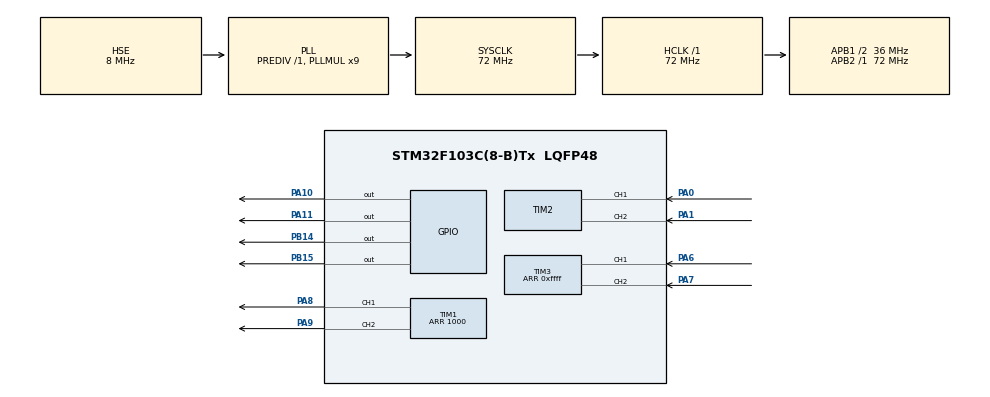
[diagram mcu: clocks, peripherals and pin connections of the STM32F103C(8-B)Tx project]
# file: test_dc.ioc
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Mcu.Family=STM32F1
Mcu.Name=STM32F103C(8-B)Tx
Mcu.Package=LQFP48
NVIC.PriorityGroup=NVIC_PRIORITYGROUP_4
NVIC.TIM2_IRQn=true\:0\:0\:false\:false\:true\:true\:true\:true
NVIC.TIM3_IRQn=true\:0\:0\:false\:false\:true\:true\:true\:true
PA0-WKUP.Signal=S_TIM2_CH1_ETR
PA1.Signal=S_TIM2_CH2
PA10.Signal=GPIO_Output
PA11.Signal=GPIO_Output
PA13.Mode=Serial_Wire
PA13.Signal=SYS_JTMS-SWDIO
PA14.Mode=Serial_Wire
PA14.Signal=SYS_JTCK-SWCLK
PA6.Signal=S_TIM3_CH1
PA7.Signal=S_TIM3_CH2
PA8.Signal=S_TIM1_CH1
PA9.Signal=S_TIM1_CH2
PB14.Signal=GPIO_Output
PB15.Signal=GPIO_Output
PD0-OSC_IN.Mode=HSE-External-Oscillator
PD0-OSC_IN.Signal=RCC_OSC_IN
PD1-OSC_OUT.Mode=HSE-External-Oscillator
PD1-OSC_OUT.Signal=RCC_OSC_OUT
ProjectManager.HeapSize=0x200
ProjectManager.StackSize=0x400
ProjectManager.TargetToolchain=STM32CubeIDE
RCC.AHBFreq_Value=72000000
RCC.APB1CLKDivider=RCC_HCLK_DIV2
RCC.APB1Freq_Value=36000000
RCC.APB1TimFreq_Value=72000000
RCC.APB2Freq_Value=72000000
RCC.APB2TimFreq_Value=72000000
RCC.HCLKFreq_Value=72000000
RCC.PLLMUL=RCC_PLL_MUL9
RCC.PLLSourceVirtual=RCC_PLLSOURCE_HSE
RCC.SYSCLKFreq_VALUE=72000000
RCC.SYSCLKSource=RCC_SYSCLKSOURCE_PLLCLK
RCC.USBFreq_Value=72000000
SH.S_TIM1_CH1.0=TIM1_CH1,PWM Generation1 CH1
SH.S_TIM1_CH2.0=TIM1_CH2,PWM Generation2 CH2
SH.S_TIM2_CH1_ETR.0=TIM2_CH1,Encoder_Interface
SH.S_TIM2_CH2.0=TIM2_CH2,Encoder_Interface
SH.S_TIM3_CH1.0=TIM3_CH1,Encoder_Interface
SH.S_TIM3_CH2.0=TIM3_CH2,Encoder_Interface
TIM1.Channel-PWM\ Generation1\ CH1=TIM_CHANNEL_1
TIM1.Channel-PWM\ Generation2\ CH2=TIM_CHANNEL_2
TIM1.Period=1000
TIM3.Period=0xffff
board=custom

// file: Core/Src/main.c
/* USER CODE BEGIN Header */
/**
  ******************************************************************************
  * @file           : main.c
  * @brief          : Main program body
  ******************************************************************************
  * @attention
  *
  * Copyright (c) 2023 STMicroelectronics.
  * All rights reserved.
  *
  * This software is licensed under terms that can be found in the LICENSE file
  * in the root directory of this software component.
  * If no LICENSE file comes with this software, it is provided AS-IS.
  *
  ******************************************************************************
  */
/* USER CODE END Header */
#include "main.h"

/* USER CODE BEGIN Includes */
int16_t xung1=0;
int16_t xung2=0;
float rate1=0;
float rate2=0;

/* USER CODE END Includes */

TIM_HandleTypeDef htim1;
TIM_HandleTypeDef htim2;
TIM_HandleTypeDef htim3;

void SystemClock_Config(void);
static void MX_GPIO_Init(void);
static void MX_TIM1_Init(void);
static void MX_TIM2_Init(void);
static void MX_TIM3_Init(void);

int main(void)
{

  /* MCU Configuration--------------------------------------------------------*/

  /* Reset of all peripherals, Initializes the Flash interface and the Systick. */
  HAL_Init();

  /* Configure the system clock */
  SystemClock_Config();

  /* Initialize all configured peripherals */
  MX_GPIO_Init();
  MX_TIM1_Init();
  MX_TIM2_Init();
  MX_TIM3_Init();
  /* USER CODE BEGIN 2 */
    HAL_TIM_PWM_Start(&htim1, TIM_CHANNEL_1);
    HAL_TIM_PWM_Start(&htim1, TIM_CHANNEL_2);

    HAL_TIM_Encoder_Start(&htim2, TIM_CHANNEL_1);
    HAL_TIM_Encoder_Start(&htim2, TIM_CHANNEL_2);

    HAL_TIM_Encoder_Start(&htim3, TIM_CHANNEL_1);
    HAL_TIM_Encoder_Start(&htim3, TIM_CHANNEL_2);
  /* USER CODE END 2 */

  /* Infinite loop */
  /* USER CODE BEGIN WHILE */

  while (1)
  {
	  	  	__HAL_TIM_SetCompare (&htim1,TIM_CHANNEL_1,250);
	  		__HAL_TIM_SetCompare (&htim1,TIM_CHANNEL_2,250);
	  		HAL_GPIO_WritePin(GPIOA, GPIO_PIN_11, GPIO_PIN_RESET);
	  		HAL_GPIO_WritePin(GPIOA, GPIO_PIN_10, GPIO_PIN_SET);
	  		HAL_GPIO_WritePin(GPIOB, GPIO_PIN_14, GPIO_PIN_RESET);
	  		HAL_GPIO_WritePin(GPIOB, GPIO_PIN_15, GPIO_PIN_SET);

	  		xung1 = __HAL_TIM_GET_COUNTER(&htim2);
	  		xung2 = __HAL_TIM_GET_COUNTER(&htim3);
	  		rate1 = (float)xung1/376/2*60 ;
	  		rate2 = (float)xung2/376/2*60 ;
	  		TIM2->CNT = 0;
	  		TIM3->CNT = 0;
	  		HAL_Delay(1000);
    /* USER CODE END WHILE */

  }
}

void SystemClock_Config(void)
{
  RCC_OscInitTypeDef RCC_OscInitStruct = {0};
  RCC_ClkInitTypeDef RCC_ClkInitStruct = {0};

  /** Initializes the RCC Oscillators according to the specified parameters
  * in the RCC_OscInitTypeDef structure.
  */
  RCC_OscInitStruct.OscillatorType = RCC_OSCILLATORTYPE_HSE;
  RCC_OscInitStruct.HSEState = RCC_HSE_ON;
  RCC_OscInitStruct.HSEPredivValue = RCC_HSE_PREDIV_DIV1;
  RCC_OscInitStruct.HSIState = RCC_HSI_ON;
  RCC_OscInitStruct.PLL.PLLState = RCC_PLL_ON;
  RCC_OscInitStruct.PLL.PLLSource = RCC_PLLSOURCE_HSE;
  RCC_OscInitStruct.PLL.PLLMUL = RCC_PLL_MUL9;
  if (HAL_RCC_OscConfig(&RCC_OscInitStruct) != HAL_OK)
  {
    Error_Handler();
  }

  /** Initializes the CPU, AHB and APB buses clocks
  */
  RCC_ClkInitStruct.ClockType = RCC_CLOCKTYPE_HCLK|RCC_CLOCKTYPE_SYSCLK
                              |RCC_CLOCKTYPE_PCLK1|RCC_CLOCKTYPE_PCLK2;
  RCC_ClkInitStruct.SYSCLKSource = RCC_SYSCLKSOURCE_PLLCLK;
  RCC_ClkInitStruct.AHBCLKDivider = RCC_SYSCLK_DIV1;
  RCC_ClkInitStruct.APB1CLKDivider = RCC_HCLK_DIV2;
  RCC_ClkInitStruct.APB2CLKDivider = RCC_HCLK_DIV1;

  if (HAL_RCC_ClockConfig(&RCC_ClkInitStruct, FLASH_LATENCY_2) != HAL_OK)
  {
    Error_Handler();
  }
}

static void MX_TIM1_Init(void)
{

  TIM_MasterConfigTypeDef sMasterConfig = {0};
  TIM_OC_InitTypeDef sConfigOC = {0};
  TIM_BreakDeadTimeConfigTypeDef sBreakDeadTimeConfig = {0};

  htim1.Instance = TIM1;
  htim1.Init.Prescaler = 0;
  htim1.Init.CounterMode = TIM_COUNTERMODE_UP;
  htim1.Init.Period = 1000;
  htim1.Init.ClockDivision = TIM_CLOCKDIVISION_DIV1;
  htim1.Init.RepetitionCounter = 0;
  htim1.Init.AutoReloadPreload = TIM_AUTORELOAD_PRELOAD_DISABLE;
  if (HAL_TIM_PWM_Init(&htim1) != HAL_OK)
  {
    Error_Handler();
  }
  sMasterConfig.MasterOutputTrigger = TIM_TRGO_RESET;
  sMasterConfig.MasterSlaveMode = TIM_MASTERSLAVEMODE_DISABLE;
  if (HAL_TIMEx_MasterConfigSynchronization(&htim1, &sMasterConfig) != HAL_OK)
  {
    Error_Handler();
  }
  sConfigOC.OCMode = TIM_OCMODE_PWM1;
  sConfigOC.Pulse = 0;
  sConfigOC.OCPolarity = TIM_OCPOLARITY_HIGH;
  sConfigOC.OCNPolarity = TIM_OCNPOLARITY_HIGH;
  sConfigOC.OCFastMode = TIM_OCFAST_DISABLE;
  sConfigOC.OCIdleState = TIM_OCIDLESTATE_RESET;
  sConfigOC.OCNIdleState = TIM_OCNIDLESTATE_RESET;
  if (HAL_TIM_PWM_ConfigChannel(&htim1, &sConfigOC, TIM_CHANNEL_1) != HAL_OK)
  {
    Error_Handler();
  }
  if (HAL_TIM_PWM_ConfigChannel(&htim1, &sConfigOC, TIM_CHANNEL_2) != HAL_OK)
  {
    Error_Handler();
  }
  sBreakDeadTimeConfig.OffStateRunMode = TIM_OSSR_DISABLE;
  sBreakDeadTimeConfig.OffStateIDLEMode = TIM_OSSI_DISABLE;
  sBreakDeadTimeConfig.LockLevel = TIM_LOCKLEVEL_OFF;
  sBreakDeadTimeConfig.DeadTime = 0;
  sBreakDeadTimeConfig.BreakState = TIM_BREAK_DISABLE;
  sBreakDeadTimeConfig.BreakPolarity = TIM_BREAKPOLARITY_HIGH;
  sBreakDeadTimeConfig.AutomaticOutput = TIM_AUTOMATICOUTPUT_DISABLE;
  if (HAL_TIMEx_ConfigBreakDeadTime(&htim1, &sBreakDeadTimeConfig) != HAL_OK)
  {
    Error_Handler();
  }
  HAL_TIM_MspPostInit(&htim1);

}

static void MX_TIM2_Init(void)
{

  TIM_Encoder_InitTypeDef sConfig = {0};
  TIM_MasterConfigTypeDef sMasterConfig = {0};

  htim2.Instance = TIM2;
  htim2.Init.Prescaler = 0;
  htim2.Init.CounterMode = TIM_COUNTERMODE_UP;
  htim2.Init.Period = 65535;
  htim2.Init.ClockDivision = TIM_CLOCKDIVISION_DIV1;
  htim2.Init.AutoReloadPreload = TIM_AUTORELOAD_PRELOAD_DISABLE;
  sConfig.EncoderMode = TIM_ENCODERMODE_TI1;
  sConfig.IC1Polarity = TIM_ICPOLARITY_RISING;
  sConfig.IC1Selection = TIM_ICSELECTION_DIRECTTI;
  sConfig.IC1Prescaler = TIM_ICPSC_DIV1;
  sConfig.IC1Filter = 0;
  sConfig.IC2Polarity = TIM_ICPOLARITY_RISING;
  sConfig.IC2Selection = TIM_ICSELECTION_DIRECTTI;
  sConfig.IC2Prescaler = TIM_ICPSC_DIV1;
  sConfig.IC2Filter = 0;
  if (HAL_TIM_Encoder_Init(&htim2, &sConfig) != HAL_OK)
  {
    Error_Handler();
  }
  sMasterConfig.MasterOutputTrigger = TIM_TRGO_RESET;
  sMasterConfig.MasterSlaveMode = TIM_MASTERSLAVEMODE_DISABLE;
  if (HAL_TIMEx_MasterConfigSynchronization(&htim2, &sMasterConfig) != HAL_OK)
  {
    Error_Handler();
  }

}

static void MX_TIM3_Init(void)
{

  TIM_Encoder_InitTypeDef sConfig = {0};
  TIM_MasterConfigTypeDef sMasterConfig = {0};

  htim3.Instance = TIM3;
  htim3.Init.Prescaler = 0;
  htim3.Init.CounterMode = TIM_COUNTERMODE_UP;
  htim3.Init.Period = 0xffff;
  htim3.Init.ClockDivision = TIM_CLOCKDIVISION_DIV1;
  htim3.Init.AutoReloadPreload = TIM_AUTORELOAD_PRELOAD_DISABLE;
  sConfig.EncoderMode = TIM_ENCODERMODE_TI1;
  sConfig.IC1Polarity = TIM_ICPOLARITY_RISING;
  sConfig.IC1Selection = TIM_ICSELECTION_DIRECTTI;
  sConfig.IC1Prescaler = TIM_ICPSC_DIV1;
  sConfig.IC1Filter = 0;
  sConfig.IC2Polarity = TIM_ICPOLARITY_RISING;
  sConfig.IC2Selection = TIM_ICSELECTION_DIRECTTI;
  sConfig.IC2Prescaler = TIM_ICPSC_DIV1;
  sConfig.IC2Filter = 0;
  if (HAL_TIM_Encoder_Init(&htim3, &sConfig) != HAL_OK)
  {
    Error_Handler();
  }
  sMasterConfig.MasterOutputTrigger = TIM_TRGO_RESET;
  sMasterConfig.MasterSlaveMode = TIM_MASTERSLAVEMODE_DISABLE;
  if (HAL_TIMEx_MasterConfigSynchronization(&htim3, &sMasterConfig) != HAL_OK)
  {
    Error_Handler();
  }

}

static void MX_GPIO_Init(void)
{
  GPIO_InitTypeDef GPIO_InitStruct = {0};

  /* GPIO Ports Clock Enable */
  __HAL_RCC_GPIOD_CLK_ENABLE();
  __HAL_RCC_GPIOA_CLK_ENABLE();
  __HAL_RCC_GPIOB_CLK_ENABLE();

  /*Configure GPIO pin Output Level */
  HAL_GPIO_WritePin(GPIOB, GPIO_PIN_14|GPIO_PIN_15, GPIO_PIN_RESET);

  /*Configure GPIO pin Output Level */
  HAL_GPIO_WritePin(GPIOA, GPIO_PIN_10|GPIO_PIN_11, GPIO_PIN_RESET);

  /*Configure GPIO pins : PB14 PB15 */
  GPIO_InitStruct.Pin = GPIO_PIN_14|GPIO_PIN_15;
  GPIO_InitStruct.Mode = GPIO_MODE_OUTPUT_PP;
  GPIO_InitStruct.Pull = GPIO_NOPULL;
  GPIO_InitStruct.Speed = GPIO_SPEED_FREQ_LOW;
  HAL_GPIO_Init(GPIOB, &GPIO_InitStruct);

  /*Configure GPIO pins : PA10 PA11 */
  GPIO_InitStruct.Pin = GPIO_PIN_10|GPIO_PIN_11;
  GPIO_InitStruct.Mode = GPIO_MODE_OUTPUT_PP;
  GPIO_InitStruct.Pull = GPIO_NOPULL;
  GPIO_InitStruct.Speed = GPIO_SPEED_FREQ_LOW;
  HAL_GPIO_Init(GPIOA, &GPIO_InitStruct);

}

void Error_Handler(void)
{
  __disable_irq();
  while (1)
  {
  }
}
